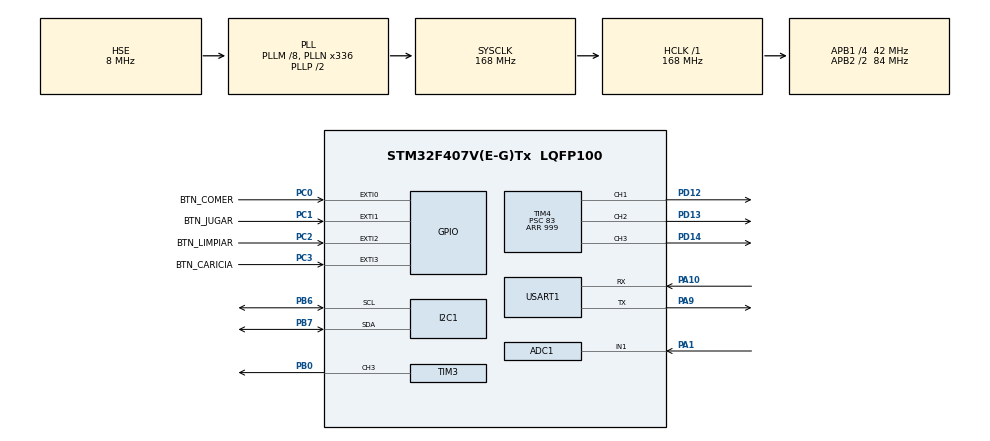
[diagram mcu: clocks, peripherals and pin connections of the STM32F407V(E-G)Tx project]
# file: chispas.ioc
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ADC1.Channel-0\#ChannelRegularConversion=ADC_CHANNEL_1
ADC1.NbrOfConversionFlag=1
ADC1.Rank-0\#ChannelRegularConversion=1
ADC1.SamplingTime-0\#ChannelRegularConversion=ADC_SAMPLETIME_144CYCLES
ADC1.master=1
FREERTOS.Mutexes01=mutexI2C,Dynamic,NULL,Available
FREERTOS.Queues01=qEventos,10,uint8_t,0,Dynamic,NULL,NULL
FREERTOS.Tasks01=tSensores,32,256,StartSensores,Default,NULL,Dynamic,NULL,NULL;tSonido,32,256,StartSonido,Default,NULL,Dynamic,NULL,NULL;tLogica,24,512,StartLogica,Default,NULL,Dynamic,NULL,NULL;tPantalla,16,512,StartPantalla,Default,NULL,Dynamic,NULL,NULL;tLog,8,256,StartLog,Default,NULL,Dynamic,NULL,NULL
FREERTOS.configCHECK_FOR_STACK_OVERFLOW=2
FREERTOS.configTOTAL_HEAP_SIZE=25000
FREERTOS.configUSE_MALLOC_FAILED_HOOK=1
FREERTOS.configUSE_NEWLIB_REENTRANT=1
I2C1.I2C_Mode=I2C_Fast
Mcu.Family=STM32F4
Mcu.Name=STM32F407V(E-G)Tx
Mcu.Package=LQFP100
NVIC.EXTI0_IRQn=true\:5\:0\:false\:false\:true\:true\:true\:true\:true
NVIC.EXTI1_IRQn=true\:5\:0\:false\:false\:true\:true\:true\:true\:true
NVIC.EXTI2_IRQn=true\:5\:0\:false\:false\:true\:true\:true\:true\:true
NVIC.EXTI3_IRQn=true\:5\:0\:false\:false\:true\:true\:true\:true\:true
NVIC.PriorityGroup=NVIC_PRIORITYGROUP_4
NVIC.TIM6_DAC_IRQn=true\:15\:0\:false\:false\:true\:false\:false\:true\:true
NVIC.TimeBase=TIM6_DAC_IRQn
NVIC.TimeBaseIP=TIM6
PA1.Signal=ADCx_IN1
PA10.Mode=Asynchronous
PA10.Signal=USART1_RX
PA13.Mode=Serial_Wire
PA13.Signal=SYS_JTMS-SWDIO
PA14.Mode=Serial_Wire
PA14.Signal=SYS_JTCK-SWCLK
PA9.Mode=Asynchronous
PA9.Signal=USART1_TX
PB0.Signal=S_TIM3_CH3
PB6.Mode=I2C
PB6.Signal=I2C1_SCL
PB7.Mode=I2C
PB7.Signal=I2C1_SDA
PC0.GPIO_Label=BTN_COMER
PC0.GPIO_ModeDefaultEXTI=GPIO_MODE_IT_FALLING
PC0.GPIO_PuPd=GPIO_PULLUP
PC0.Signal=GPXTI0
PC1.GPIO_Label=BTN_JUGAR
PC1.GPIO_ModeDefaultEXTI=GPIO_MODE_IT_FALLING
PC1.GPIO_PuPd=GPIO_PULLUP
PC1.Signal=GPXTI1
PC2.GPIO_Label=BTN_LIMPIAR
PC2.GPIO_ModeDefaultEXTI=GPIO_MODE_IT_FALLING
PC2.GPIO_PuPd=GPIO_PULLUP
PC2.Signal=GPXTI2
PC3.GPIO_Label=BTN_CARICIA
PC3.GPIO_ModeDefaultEXTI=GPIO_MODE_IT_FALLING
PC3.GPIO_PuPd=GPIO_PULLUP
PC3.Signal=GPXTI3
PD12.Signal=S_TIM4_CH1
PD13.Signal=S_TIM4_CH2
PD14.Signal=S_TIM4_CH3
PH0-OSC_IN.Mode=HSE-External-Oscillator
PH0-OSC_IN.Signal=RCC_OSC_IN
PH1-OSC_OUT.Mode=HSE-External-Oscillator
PH1-OSC_OUT.Signal=RCC_OSC_OUT
ProjectManager.HeapSize=0x200
ProjectManager.StackSize=0x400
ProjectManager.TargetToolchain=STM32CubeIDE
RCC.48MHZClocksFreq_Value=84000000
RCC.AHBFreq_Value=168000000
RCC.APB1CLKDivider=RCC_HCLK_DIV4
RCC.APB1Freq_Value=42000000
RCC.APB1TimFreq_Value=84000000
RCC.APB2CLKDivider=RCC_HCLK_DIV2
RCC.APB2Freq_Value=84000000
RCC.APB2TimFreq_Value=168000000
RCC.CortexFreq_Value=168000000
RCC.HCLKFreq_Value=168000000
RCC.HSE_VALUE=8000000
RCC.HSI_VALUE=16000000
RCC.LSE_VALUE=32768
RCC.PLLM=8
RCC.PLLN=336
RCC.PLLSourceVirtual=RCC_PLLSOURCE_HSE
RCC.SYSCLKFreq_VALUE=168000000
RCC.SYSCLKSource=RCC_SYSCLKSOURCE_PLLCLK
RCC.VCOOutputFreq_Value=336000000
SH.ADCx_IN1.0=ADC1_IN1,IN1
SH.S_TIM3_CH3.0=TIM3_CH3,PWM Generation3 CH3
SH.S_TIM4_CH1.0=TIM4_CH1,PWM Generation1 CH1
SH.S_TIM4_CH2.0=TIM4_CH2,PWM Generation2 CH2
SH.S_TIM4_CH3.0=TIM4_CH3,PWM Generation3 CH3
TIM3.AutoReloadPreload=TIM_AUTORELOAD_PRELOAD_ENABLE
TIM3.Channel-PWM\ Generation3\ CH3=TIM_CHANNEL_3
TIM3.Period=999
TIM3.Prescaler=83
TIM4.AutoReloadPreload=TIM_AUTORELOAD_PRELOAD_ENABLE
TIM4.Channel-PWM\ Generation1\ CH1=TIM_CHANNEL_1
TIM4.Channel-PWM\ Generation2\ CH2=TIM_CHANNEL_2
TIM4.Channel-PWM\ Generation3\ CH3=TIM_CHANNEL_3
TIM4.Period=999
TIM4.Prescaler=83
USART1.VirtualMode=VM_ASYNC
VP_FREERTOS_VS_CMSIS_V2.Mode=CMSIS_V2
VP_SYS_VS_tim6.Mode=TIM6
VP_TIM3_VS_ClockSourceINT.Mode=Internal
VP_TIM4_VS_ClockSourceINT.Mode=Internal
board=custom

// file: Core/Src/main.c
/* USER CODE BEGIN Header */
/**
  ******************************************************************************
  * @file           : main.c
  * @brief          : Main program body
  ******************************************************************************
  * @attention
  *
  * Copyright (c) 2026 STMicroelectronics.
  * All rights reserved.
  *
  * This software is licensed under terms that can be found in the LICENSE file
  * in the root directory of this software component.
  * If no LICENSE file comes with this software, it is provided AS-IS.
  *
  ******************************************************************************
  */
/* USER CODE END Header */
#include "main.h"
#include "cmsis_os.h"
#include "adc.h"
#include "i2c.h"
#include "tim.h"
#include "usart.h"
#include "gpio.h"

void SystemClock_Config(void);
void MX_FREERTOS_Init(void);

int main(void)
{

  /* MCU Configuration--------------------------------------------------------*/

  /* Reset of all peripherals, Initializes the Flash interface and the Systick. */
  HAL_Init();

  /* Configure the system clock */
  SystemClock_Config();

  /* Initialize all configured peripherals */
  MX_GPIO_Init();
  MX_TIM3_Init();
  MX_ADC1_Init();
  MX_I2C1_Init();
  MX_TIM4_Init();
  MX_USART1_UART_Init();

  /* Init scheduler */
  osKernelInitialize();  /* Call init function for freertos objects (in cmsis_os2.c) */
  MX_FREERTOS_Init();

  /* Start scheduler */
  osKernelStart();

  /* We should never get here as control is now taken by the scheduler */

  /* Infinite loop */
  while (1)
  {

  }
}

void SystemClock_Config(void)
{
  RCC_OscInitTypeDef RCC_OscInitStruct = {0};
  RCC_ClkInitTypeDef RCC_ClkInitStruct = {0};

  /** Configure the main internal regulator output voltage
  */
  __HAL_RCC_PWR_CLK_ENABLE();
  __HAL_PWR_VOLTAGESCALING_CONFIG(PWR_REGULATOR_VOLTAGE_SCALE1);

  /** Initializes the RCC Oscillators according to the specified parameters
  * in the RCC_OscInitTypeDef structure.
  */
  RCC_OscInitStruct.OscillatorType = RCC_OSCILLATORTYPE_HSE;
  RCC_OscInitStruct.HSEState = RCC_HSE_ON;
  RCC_OscInitStruct.PLL.PLLState = RCC_PLL_ON;
  RCC_OscInitStruct.PLL.PLLSource = RCC_PLLSOURCE_HSE;
  RCC_OscInitStruct.PLL.PLLM = 8;
  RCC_OscInitStruct.PLL.PLLN = 336;
  RCC_OscInitStruct.PLL.PLLP = RCC_PLLP_DIV2;
  RCC_OscInitStruct.PLL.PLLQ = 4;
  if (HAL_RCC_OscConfig(&RCC_OscInitStruct) != HAL_OK)
  {
    Error_Handler();
  }

  /** Initializes the CPU, AHB and APB buses clocks
  */
  RCC_ClkInitStruct.ClockType = RCC_CLOCKTYPE_HCLK|RCC_CLOCKTYPE_SYSCLK
                              |RCC_CLOCKTYPE_PCLK1|RCC_CLOCKTYPE_PCLK2;
  RCC_ClkInitStruct.SYSCLKSource = RCC_SYSCLKSOURCE_PLLCLK;
  RCC_ClkInitStruct.AHBCLKDivider = RCC_SYSCLK_DIV1;
  RCC_ClkInitStruct.APB1CLKDivider = RCC_HCLK_DIV4;
  RCC_ClkInitStruct.APB2CLKDivider = RCC_HCLK_DIV2;

  if (HAL_RCC_ClockConfig(&RCC_ClkInitStruct, FLASH_LATENCY_5) != HAL_OK)
  {
    Error_Handler();
  }
}

void HAL_TIM_PeriodElapsedCallback(TIM_HandleTypeDef *htim)
{
  if (htim->Instance == TIM6)
  {
    HAL_IncTick();
  }
}

void Error_Handler(void)
{
  __disable_irq();
  while (1)
  {
  }
}

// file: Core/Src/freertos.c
/* USER CODE BEGIN Header */
/**
  ******************************************************************************
  * File Name          : freertos.c
  * Description        : Code for freertos applications
  ******************************************************************************
  * @attention
  *
  * Copyright (c) 2026 STMicroelectronics.
  * All rights reserved.
  *
  * This software is licensed under terms that can be found in the LICENSE file
  * in the root directory of this software component.
  * If no LICENSE file comes with this software, it is provided AS-IS.
  *
  ******************************************************************************
  */
/* USER CODE END Header */

#include "FreeRTOS.h"
#include "task.h"
#include "main.h"
#include "cmsis_os.h"

/* USER CODE BEGIN Includes */
#include "usart.h"
#include "chispa.h"
#include <stdio.h>
#include <stdarg.h>
#include <string.h>

/* USER CODE END Includes */

/* USER CODE BEGIN Variables */
/* ---- Log por UART: cualquier tarea escribe en la cola, solo tLog usa la UART ---- */
typedef struct { char txt[96]; } logmsg_t;
osMessageQueueId_t qLogHandle;      /* mensajes de texto -> tarea Log          */
osMessageQueueId_t qPantallaHandle; /* vista_t (longitud 1) Logica -> Pantalla  */

void log_printf(const char *fmt, ...)
{
  logmsg_t m;
  int n = snprintf(m.txt, sizeof(m.txt), "[%lu] ", (unsigned long)osKernelGetTickCount());
  va_list ap;
  va_start(ap, fmt);
  vsnprintf(m.txt + n, sizeof(m.txt) - n, fmt, ap);
  va_end(ap);
  osMessageQueuePut(qLogHandle, &m, 0, 0);   /* no bloquea; si la cola esta llena se descarta */
}

/* USER CODE END Variables */
/* Definitions for tSensores */
osThreadId_t tSensoresHandle;
const osThreadAttr_t tSensores_attributes = {
  .name = "tSensores",
  .stack_size = 256 * 4,
  .priority = (osPriority_t) osPriorityAboveNormal,
};
/* Definitions for tSonido */
osThreadId_t tSonidoHandle;
const osThreadAttr_t tSonido_attributes = {
  .name = "tSonido",
  .stack_size = 256 * 4,
  .priority = (osPriority_t) osPriorityAboveNormal,
};
/* Definitions for tLogica */
osThreadId_t tLogicaHandle;
const osThreadAttr_t tLogica_attributes = {
  .name = "tLogica",
  .stack_size = 512 * 4,
  .priority = (osPriority_t) osPriorityNormal,
};
/* Definitions for tPantalla */
osThreadId_t tPantallaHandle;
const osThreadAttr_t tPantalla_attributes = {
  .name = "tPantalla",
  .stack_size = 512 * 4,
  .priority = (osPriority_t) osPriorityBelowNormal,
};
/* Definitions for tLog */
osThreadId_t tLogHandle;
const osThreadAttr_t tLog_attributes = {
  .name = "tLog",
  .stack_size = 256 * 4,
  .priority = (osPriority_t) osPriorityLow,
};
/* Definitions for qEventos */
osMessageQueueId_t qEventosHandle;
const osMessageQueueAttr_t qEventos_attributes = {
  .name = "qEventos"
};
/* Definitions for mutexI2C */
osMutexId_t mutexI2CHandle;
const osMutexAttr_t mutexI2C_attributes = {
  .name = "mutexI2C"
};

void StartSensores(void *argument);
void StartSonido(void *argument);
void StartLogica(void *argument);
void StartPantalla(void *argument);
void StartLog(void *argument);

void MX_FREERTOS_Init(void); /* (MISRA C 2004 rule 8.1) */

/* Hook prototypes */
void vApplicationStackOverflowHook(xTaskHandle xTask, signed char *pcTaskName);
void vApplicationMallocFailedHook(void);

/* USER CODE BEGIN 4 */
void vApplicationStackOverflowHook(xTaskHandle xTask, signed char *pcTaskName)
{
  /* Error grave: se reporta directo por la UART (sin cola) y se detiene el sistema */
  char msg[48];
  int n = snprintf(msg, sizeof(msg), "\r\n!! STACK OVERFLOW en %s\r\n", (char *)pcTaskName);
  HAL_UART_Transmit(&huart1, (uint8_t *)msg, n, 100);
  __disable_irq();
  while (1) { }
}
/* USER CODE END 4 */

/* USER CODE BEGIN 5 */
void vApplicationMallocFailedHook(void)
{
  const char msg[] = "\r\n!! MALLOC FAILED: falta heap de FreeRTOS\r\n";
  HAL_UART_Transmit(&huart1, (uint8_t *)msg, sizeof(msg) - 1, 100);
  __disable_irq();
  while (1) { }
   /* vApplicationMallocFailedHook() will only be called if
   configUSE_MALLOC_FAILED_HOOK is set to 1 in FreeRTOSConfig.h. It is a hook
   function that will get called if a call to pvPortMalloc() fails.
   pvPortMalloc() is called internally by the kernel whenever a task, queue,
   timer or semaphore is created. It is also called by various parts of the
   demo application. If heap_1.c or heap_2.c are used, then the size of the
   heap available to pvPortMalloc() is defined by configTOTAL_HEAP_SIZE in
   FreeRTOSConfig.h, and the xPortGetFreeHeapSize() API function can be used
   to query the size of free heap space that remains (although it does not
   provide information on how the remaining heap might be fragmented). */
}
/* USER CODE END 5 */

void MX_FREERTOS_Init(void) {
  /* Create the mutex(es) */
  /* creation of mutexI2C */
  mutexI2CHandle = osMutexNew(&mutexI2C_attributes);

  /* Create the queue(s) */
  /* creation of qEventos */
  qEventosHandle = osMessageQueueNew (10, sizeof(uint8_t), &qEventos_attributes);

  /* USER CODE BEGIN RTOS_QUEUES */
  qLogHandle = osMessageQueueNew(16, sizeof(logmsg_t), NULL);
  qPantallaHandle = osMessageQueueNew(1, sizeof(vista_t), NULL);
  /* USER CODE END RTOS_QUEUES */

  /* Create the thread(s) */
  /* creation of tSensores */
  tSensoresHandle = osThreadNew(StartSensores, NULL, &tSensores_attributes);

  /* creation of tSonido */
  tSonidoHandle = osThreadNew(StartSonido, NULL, &tSonido_attributes);

  /* creation of tLogica */
  tLogicaHandle = osThreadNew(StartLogica, NULL, &tLogica_attributes);

  /* creation of tPantalla */
  tPantallaHandle = osThreadNew(StartPantalla, NULL, &tPantalla_attributes);

  /* creation of tLog */
  tLogHandle = osThreadNew(StartLog, NULL, &tLog_attributes);

}

void StartSensores(void *argument)
{
  /* USER CODE BEGIN StartSensores */
  Sensores_Task();   /* implementada en chispa_sensores.c */
  /* USER CODE END StartSensores */
}

void StartSonido(void *argument)
{
  /* USER CODE BEGIN StartSonido */
  Sonido_Task();   /* implementada en chispa_sonido.c */
  /* USER CODE END StartSonido */
}

void StartLogica(void *argument)
{
  /* USER CODE BEGIN StartLogica */
  Logica_Task();   /* implementada en chispa_logica.c */
  /* USER CODE END StartLogica */
}

void StartPantalla(void *argument)
{
  /* USER CODE BEGIN StartPantalla */
  Pantalla_Task();   /* implementada en chispa_pantalla.c */
  /* USER CODE END StartPantalla */
}

void StartLog(void *argument)
{
  /* USER CODE BEGIN StartLog */
  logmsg_t m;
  log_printf("=== Chispa arrancando ===\r\n");
  for(;;)
  {
    /* Bloqueada (sin consumir CPU) hasta que llegue un mensaje */
    if (osMessageQueueGet(qLogHandle, &m, NULL, osWaitForever) == osOK)
    {
      HAL_UART_Transmit(&huart1, (uint8_t *)m.txt, strlen(m.txt), 100);
    }
  }
  /* USER CODE END StartLog */
}
